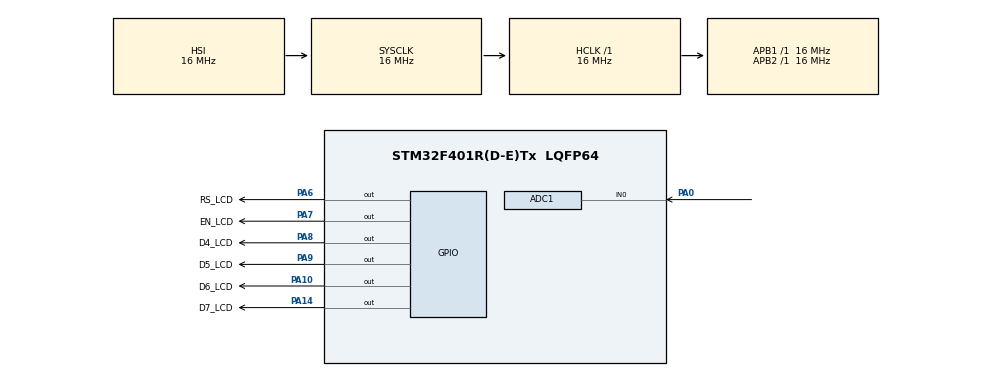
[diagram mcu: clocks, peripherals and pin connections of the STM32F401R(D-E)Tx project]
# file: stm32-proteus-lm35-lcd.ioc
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ADC1.Channel-0\#ChannelRegularConversion=ADC_CHANNEL_0
ADC1.ContinuousConvMode=ENABLE
ADC1.NbrOfConversionFlag=1
ADC1.Rank-0\#ChannelRegularConversion=1
ADC1.SamplingTime-0\#ChannelRegularConversion=ADC_SAMPLETIME_144CYCLES
ADC1.master=1
Mcu.Family=STM32F4
Mcu.Name=STM32F401R(D-E)Tx
Mcu.Package=LQFP64
NVIC.PriorityGroup=NVIC_PRIORITYGROUP_4
PA0-WKUP.Signal=ADCx_IN0
PA10.GPIO_Label=D6_LCD
PA10.Signal=GPIO_Output
PA14.GPIO_Label=D7_LCD
PA14.Signal=GPIO_Output
PA6.GPIO_Label=RS_LCD
PA6.Signal=GPIO_Output
PA7.GPIO_Label=EN_LCD
PA7.Signal=GPIO_Output
PA8.GPIO_Label=D4_LCD
PA8.Signal=GPIO_Output
PA9.GPIO_Label=D5_LCD
PA9.Signal=GPIO_Output
ProjectManager.HeapSize=0x200
ProjectManager.StackSize=0x400
ProjectManager.TargetToolchain=STM32CubeIDE
RCC.AHBFreq_Value=16000000
RCC.APB1Freq_Value=16000000
RCC.APB2Freq_Value=16000000
RCC.CortexFreq_Value=16000000
RCC.HSE_VALUE=25000000
RCC.HSI_VALUE=16000000
RCC.LSE_VALUE=32768
RCC.SYSCLKFreq_VALUE=16000000
RCC.VCOOutputFreq_Value=192000000
SH.ADCx_IN0.0=ADC1_IN0,IN0
board=custom

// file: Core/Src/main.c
/* USER CODE BEGIN Header */
/**
  ******************************************************************************
  * @file           : main.c
  * @brief          : Main program body
  * @author         : M. Eyub Can, TECH-OHM (https://tech-ohm.com)
  ******************************************************************************
  * @attention
  *
  * Copyright (c) 2025 STMicroelectronics.
  * All rights reserved.
  *
  * This software is licensed under terms that can be found in the LICENSE file
  * in the root directory of this software component.
  * If no LICENSE file comes with this software, it is provided AS-IS.
  *
  ******************************************************************************
  */
/* USER CODE END Header */
#include "main.h"

/* USER CODE BEGIN Includes */
#include <stdio.h>
#include <string.h>
#include "lcd.h"
/* USER CODE END Includes */

/* USER CODE BEGIN PD */
/* In Proteus VDDA is tied to the supply rail, 5 V by default. Use 3.3f on a real board. */
#define ADC_VREF        5.0f
#define ADC_FULL_SCALE  4095.0f
#define LM35_C_PER_VOLT 100.0f   /* LM35: 10 mV/C */
#define LCD_DEGREE      0xDF     /* degree sign in the HD44780 character table */
/* USER CODE END PD */

ADC_HandleTypeDef hadc1;

/* USER CODE BEGIN PV */
uint32_t adc_raw     = 0;
float    volt        = 0.0f;
float    temperature = 0.0f;
char     line2[17];
/* USER CODE END PV */

void SystemClock_Config(void);
static void MX_GPIO_Init(void);
static void MX_ADC1_Init(void);

int main(void)
{

  /* MCU Configuration--------------------------------------------------------*/

  /* Reset of all peripherals, Initializes the Flash interface and the Systick. */
  HAL_Init();

  /* Configure the system clock */
  SystemClock_Config();

  /* Initialize all configured peripherals */
  MX_GPIO_Init();
  MX_ADC1_Init();
  /* USER CODE BEGIN 2 */
  LCD_Init();
  LCD_Clear();
  LCD_SetCursor(0, 0);
  LCD_SendString("ROOM TEMPERATURE");
  /* USER CODE END 2 */

  /* Infinite loop */
  while (1)
  {

    /* USER CODE BEGIN 3 */
    HAL_ADC_Start(&hadc1);
    if (HAL_ADC_PollForConversion(&hadc1, 100) == HAL_OK) {
      adc_raw = HAL_ADC_GetValue(&hadc1);
    }
    HAL_ADC_Stop(&hadc1);

    volt        = ADC_VREF * (float)adc_raw / ADC_FULL_SCALE;
    temperature = volt * LM35_C_PER_VOLT;

    /* The line is always 16 characters, so nothing of the old text stays on screen */
    snprintf(line2, sizeof(line2), "    %5.1f %cC    ", temperature, LCD_DEGREE);
    LCD_SetCursor(1, 0);
    LCD_SendString(line2);

    HAL_Delay(500);
  }
  /* USER CODE END 3 */
}

void SystemClock_Config(void)
{
  RCC_OscInitTypeDef RCC_OscInitStruct = {0};
  RCC_ClkInitTypeDef RCC_ClkInitStruct = {0};

  /** Configure the main internal regulator output voltage
  */
  __HAL_RCC_PWR_CLK_ENABLE();
  __HAL_PWR_VOLTAGESCALING_CONFIG(PWR_REGULATOR_VOLTAGE_SCALE2);

  /** Initializes the RCC Oscillators according to the specified parameters
  * in the RCC_OscInitTypeDef structure.
  */
  RCC_OscInitStruct.OscillatorType = RCC_OSCILLATORTYPE_HSI;
  RCC_OscInitStruct.HSIState = RCC_HSI_ON;
  RCC_OscInitStruct.HSICalibrationValue = RCC_HSICALIBRATION_DEFAULT;
  RCC_OscInitStruct.PLL.PLLState = RCC_PLL_NONE;
  if (HAL_RCC_OscConfig(&RCC_OscInitStruct) != HAL_OK)
  {
    Error_Handler();
  }

  /** Initializes the CPU, AHB and APB buses clocks
  */
  RCC_ClkInitStruct.ClockType = RCC_CLOCKTYPE_HCLK|RCC_CLOCKTYPE_SYSCLK
                              |RCC_CLOCKTYPE_PCLK1|RCC_CLOCKTYPE_PCLK2;
  RCC_ClkInitStruct.SYSCLKSource = RCC_SYSCLKSOURCE_HSI;
  RCC_ClkInitStruct.AHBCLKDivider = RCC_SYSCLK_DIV1;
  RCC_ClkInitStruct.APB1CLKDivider = RCC_HCLK_DIV1;
  RCC_ClkInitStruct.APB2CLKDivider = RCC_HCLK_DIV1;

  if (HAL_RCC_ClockConfig(&RCC_ClkInitStruct, FLASH_LATENCY_0) != HAL_OK)
  {
    Error_Handler();
  }
}

static void MX_ADC1_Init(void)
{

  ADC_ChannelConfTypeDef sConfig = {0};

  /** Configure the global features of the ADC (Clock, Resolution, Data Alignment and number of conversion)
  */
  hadc1.Instance = ADC1;
  hadc1.Init.ClockPrescaler = ADC_CLOCK_SYNC_PCLK_DIV2;
  hadc1.Init.Resolution = ADC_RESOLUTION_12B;
  hadc1.Init.ScanConvMode = DISABLE;
  hadc1.Init.ContinuousConvMode = ENABLE;
  hadc1.Init.DiscontinuousConvMode = DISABLE;
  hadc1.Init.ExternalTrigConvEdge = ADC_EXTERNALTRIGCONVEDGE_NONE;
  hadc1.Init.ExternalTrigConv = ADC_SOFTWARE_START;
  hadc1.Init.DataAlign = ADC_DATAALIGN_RIGHT;
  hadc1.Init.NbrOfConversion = 1;
  hadc1.Init.DMAContinuousRequests = DISABLE;
  hadc1.Init.EOCSelection = ADC_EOC_SINGLE_CONV;
  if (HAL_ADC_Init(&hadc1) != HAL_OK)
  {
    Error_Handler();
  }

  /** Configure for the selected ADC regular channel its corresponding rank in the sequencer and its sample time.
  */
  sConfig.Channel = ADC_CHANNEL_0;
  sConfig.Rank = 1;
  sConfig.SamplingTime = ADC_SAMPLETIME_144CYCLES;
  if (HAL_ADC_ConfigChannel(&hadc1, &sConfig) != HAL_OK)
  {
    Error_Handler();
  }

}

static void MX_GPIO_Init(void)
{
  GPIO_InitTypeDef GPIO_InitStruct = {0};

  /* GPIO Ports Clock Enable */
  __HAL_RCC_GPIOA_CLK_ENABLE();

  /*Configure GPIO pin Output Level */
  HAL_GPIO_WritePin(GPIOA, RS_LCD_Pin|EN_LCD_Pin|D4_LCD_Pin|D5_LCD_Pin
                          |D6_LCD_Pin|D7_LCD_Pin, GPIO_PIN_RESET);

  /*Configure GPIO pins : RS_LCD_Pin EN_LCD_Pin D4_LCD_Pin D5_LCD_Pin
                           D6_LCD_Pin D7_LCD_Pin */
  GPIO_InitStruct.Pin = RS_LCD_Pin|EN_LCD_Pin|D4_LCD_Pin|D5_LCD_Pin
                          |D6_LCD_Pin|D7_LCD_Pin;
  GPIO_InitStruct.Mode = GPIO_MODE_OUTPUT_PP;
  GPIO_InitStruct.Pull = GPIO_NOPULL;
  GPIO_InitStruct.Speed = GPIO_SPEED_FREQ_LOW;
  HAL_GPIO_Init(GPIOA, &GPIO_InitStruct);

}

void Error_Handler(void)
{
  __disable_irq();
  while (1)
  {
  }
}
